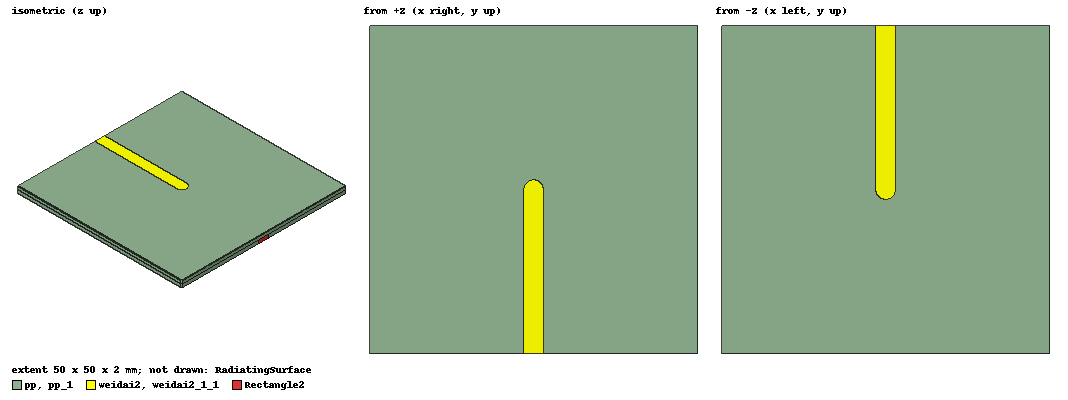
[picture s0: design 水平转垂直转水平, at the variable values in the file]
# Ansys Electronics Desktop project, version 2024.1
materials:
  copper: permeability=0.999991 conductivity=58000000
  pp: permittivity=2.34 dielectric_loss_tangent=0.001
  vacuum: permittivity=1

design 水平转垂直转水平 (HFSS, HFSS Modal Network, model units mm)
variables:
  W = 50mm
  L = 50mm
  h = 1mm
  w1 = 2.96mm
  L1 = L/2
  R1 = 0mm
  R2 = 1mm
  w2 = 8mm
  r3 = 1mm
  r4 = 2.1mm
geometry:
  pp [pp] = box(corner=(-W/2, 0, -h/2), size=(W, L, h))
  weidai2 = rectangle(corner=(-w1/2, 0mm, 1/2*h), x_size=w1, y_size=L1)
  Circle1 = circle(normal=Z, centre=(0mm, L/2, H/2), radius=W1/2+R1)
  tongzhou [copper] = cylinder(axis=Z, base_centre=(0mm, l/2, -h/2), radius=R2, height=H)
  coordinate_system RelativeCS1 = origin=(0mm, 100mm, 2mm) x=(1mm, 0mm, 0mm) y=(0mm, 1mm, 0mm)
  Circle2 = circle(normal=Z, centre=(0mm, l/2, -h/2), radius=r4)
  pp_ObjectFromFace1 [pp] = object_from(pp.face(-z))
  Circle2_2 = Circle2.copy()
  Circle2.delete()
  tongzhou_1 = tongzhou.copy()
  pp.subtract(tongzhou_1)
  pp_ObjectFromFace1.subtract(Circle2_2)
  pp_1 [pp] = box(corner=(-w/2, 0mm, -h/2), size=(w, l, -h))
  tongzhou_2 [copper] = tongzhou.duplicate_along_line(step=(0mm, 0mm, -1mm), total=2) in RelativeCS1
  tongzhou_2_1 = tongzhou_2.copy()
  pp_1.subtract(tongzhou_2_1)
  RadiatingSurface [vacuum] = region(absolute_offset=10mm on all sides)
  weidai2.unite(Circle1)
  weidai2_1 = weidai2.duplicate_along_line(step=(0mm, 0mm, -2mm), total=2)
  coordinate_system RelativeCS2 = origin=(0mm, 25mm, -1.5mm) x=(1mm, 0mm, 0mm) y=(0mm, 1mm, 0mm)
  weidai2_1_1 = weidai2_1.duplicate_mirror(point=(0mm, 0mm, 0mm), normal=(0mm, 1mm, 0mm)) in RelativeCS2
  weidai2_1.delete()
  Rectangle1 = rectangle(corner=(-1.48mm, -25mm, 2mm), z_size=-1mm, x_size=w1) in RelativeCS2
  Rectangle2 = rectangle(corner=(1.48mm, 25mm, 0mm), z_size=1mm, x_size=-w1) in RelativeCS2
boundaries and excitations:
  FiniteCond2: Finite Conductivity Objects=weidai2 Conductivity=58000000 Permeability=1 IsInternal
  FiniteCond3: Finite Conductivity Objects=pp_ObjectFromFace1 Conductivity=58000000 Permeability=1 IsInternal
  Open1: Radiation Objects=RadiatingSurface
  FiniteCond5: Finite Conductivity Objects=weidai2_1_1 Conductivity=58000000 Permeability=1 IsInternal
  1: Lumped Port Objects=Rectangle1 LumpedPortType=Modal Modes{Mode1{IntLine{(0, 0, -0.5) -> (0, 0, 0.5)} CharImp=Zpi RenormImp=50ohm}} Impedance=50ohm
  2: Lumped Port Objects=Rectangle2 LumpedPortType=Modal Modes{Mode1{IntLine{(0, 50, -1.5) -> (0, 50, -0.5)} CharImp=Zpi RenormImp=50ohm}} Impedance=50ohm
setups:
  Setup1: HfssDriven Frequency=10GHz MaxDeltaS=0.02 MaximumPasses=20 MinimumPasses=1 MinimumConvergedPasses=1 PercentRefinement=30 BasisOrder=1 PortAccuracy=2 DrivenSolverType="Direct Solver"
    sweep Sweep: 8GHz to 12GHz, 401 points; Type=Fast SaveFields
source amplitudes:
  1:1: 1W 0deg
  2:1: 0W 0deg
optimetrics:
  ParametricSetup1: Parametric Sim._Setups=[Setup1]
    sweep r4: LIN 1mm 4mm 0.5mm
  ParametricSetup2: Parametric Sim._Setups=[Setup1]
    sweep R2: LIN 0.5mm 2.5mm 0.5mm
    sweep r4: 2.5mm
  ParametricSetup3: Parametric Sim._Setups=[Setup1]
    sweep w1: LIN 11mm 13mm 0.5mm
    sweep R2: 1mm
    sweep r4: LIN 1.5mm 3mm 0.5mm
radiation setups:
  3D: Infinite Sphere Theta=0deg..180deg step 2deg Phi=-180deg..180deg step 2deg
  Elevation: Infinite Sphere Theta=-180deg..180deg step 1deg Phi=0deg..90deg step 90deg
  Azimuth: Infinite Sphere Theta=90deg..90deg step 0deg Phi=-180deg..180deg step 1deg
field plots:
  Vector_Jsurf1: Jsurf over tongzhou.face(all 3) on Setup1 : LastAdaptive at Freq=10GHz Phase=0deg
  Vector_Jsurf2: Jsurf over weidai2.face(at (0, 13.3194, 0.5)) on Setup1 : LastAdaptive at Freq=10GHz Phase=0deg
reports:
  Port Zo Plot 1: re(Zo(1)), re(Zo(2)) vs Freq on Setup1 : Sweep
  S Parameter Plot 2: dB(S(1,1)), dB(S(2,1)) vs Freq on Setup1 : Sweep [w1=all R2=all r4=all]
  S Parameter Plot 3: dB(S(2,1)) vs Freq on Setup1 : Sweep
